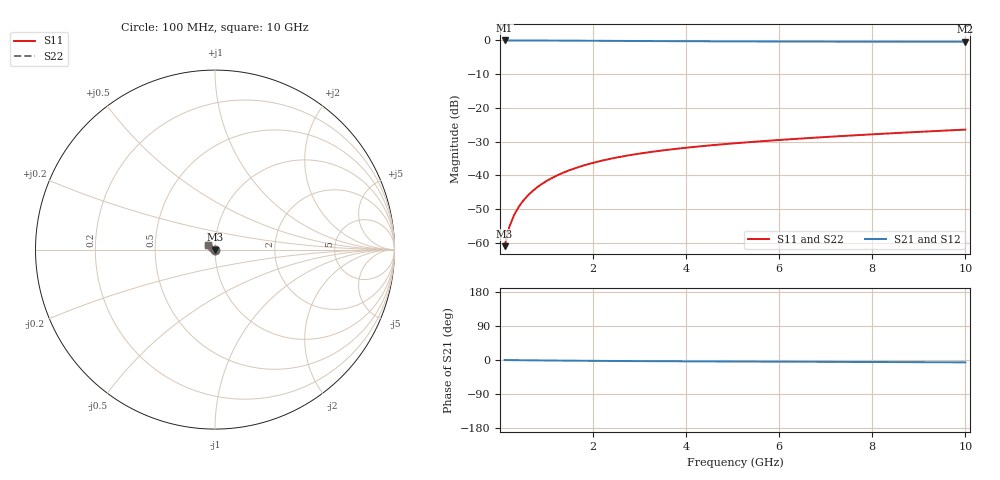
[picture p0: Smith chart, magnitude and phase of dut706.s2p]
! Touchstone file exported from HFSS 2024.1.0
!  File:  C:/UserFiles/LocalFiles/RDL_TSV_Batchsim/temp_TSV1_706_1779866788.aedt
!  Generated:  03:32:50 PM May 27, 2026
!  Design:  TSV1
!  Project:  temp_TSV1_706_1779866788
!  Setup:  Setup1
!  Solution:  Sweep
! Variables:
!  dtsv = 7.16um
!  hbump = 3um
!  htsv = 92.13um
!  lrdl = 252.1521522um
!  p = 40
!  p1 = 58.37um
!  t = 500um
!  trdl = 3um
!  wrdl = 24.89489489um
# GHz S MA R 50.000000
! Terminal data exported
! Port[1] = TSV22_T1
! Port[2] = TSV22_T2
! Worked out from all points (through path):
!   100 points, 100 MHz to 10 GHz, reference 50 ohm
!   highest |S21| = 0.00 dB at 100 MHz (marker M1); lowest = -0.4 dB at 10 GHz (marker M2)
!   lowest |S11| = -61.0 dB at 100 MHz (marker M3), VSWR 1.00, Z = 50 - j0.0849 ohm
!   |S11| at or under -10 dB: start of sweep to end of sweep
!   |S22| runs from -61.0 to -26.4 dB; largest |S21 - S12| = 1.4e-14
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0.1  0.0008906 -72.3  0.9997 -0.1  0.9997 -0.1  0.0008906 -72.3
! Gamma 0 0 0 0
! Port Impedance 50 0 50 0
0.2  0.001714 -84.4  0.9995 -0.3  0.9995 -0.3  0.001714 -84.4
0.3  0.002549 -90.1  0.9994 -0.4  0.9994 -0.4  0.002549 -90.1
0.4  0.003383 -94.2  0.9991 -0.5  0.9991 -0.5  0.003383 -94.2
0.5  0.004212 -97.5  0.9988 -0.6  0.9988 -0.6  0.004212 -97.5
0.6  0.005035 -100.5  0.9984 -0.8  0.9984 -0.8  0.005035 -100.5
0.7  0.00585 -103.3  0.998 -0.9  0.998 -0.9  0.00585 -103.3
0.8  0.006656 -105.9  0.9975 -1.0  0.9975 -1.0  0.006656 -105.9
0.9  0.007451 -108.4  0.997 -1.1  0.997 -1.1  0.007451 -108.4
1.1  0.009006 -113.3  0.9957 -1.3  0.9957 -1.3  0.009006 -113.3
1.4  0.01124 -120.2  0.9936 -1.7  0.9936 -1.7  0.01124 -120.2
1.6  0.01266 -124.5  0.9921 -1.9  0.9921 -1.9  0.01266 -124.5
1.8  0.01402 -128.7  0.9905 -2.0  0.9905 -2.0  0.01401 -128.7
2.1  0.01594 -134.7  0.988 -2.3  0.988 -2.3  0.01594 -134.7
2.5  0.01832 -142.1  0.9847 -2.6  0.9847 -2.6  0.01832 -142.1
2.9  0.02049 -149.0  0.9814 -2.9  0.9814 -2.9  0.02049 -149.0
3.4  0.02296 -156.9  0.9777 -3.2  0.9777 -3.2  0.02296 -156.9
4.2  0.0265 -168.1  0.9726 -3.6  0.9726 -3.6  0.0265 -168.1
5.1  0.03008 -178.8  0.968 -4.0  0.968 -4.0  0.03008 -178.8
6.7  0.03594 166.0  0.9622 -4.7  0.9622 -4.7  0.03594 166.0
8.4  0.04196 153.6  0.9581 -5.5  0.9581 -5.5  0.04196 153.6
10  0.04764 144.4  0.9553 -6.2  0.9553 -6.2  0.04764 144.4
